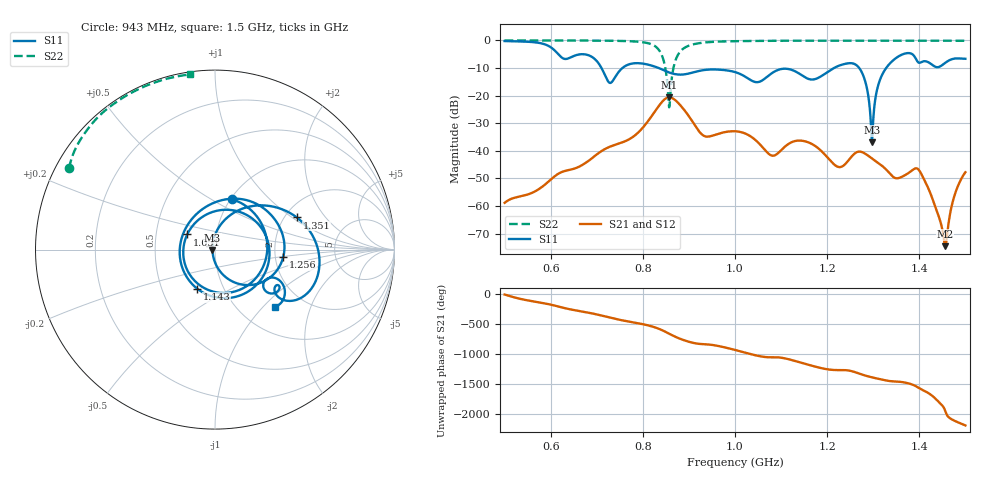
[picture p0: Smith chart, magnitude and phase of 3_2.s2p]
! TOUCHSTONE file generated by CST MICROWAVE STUDIO
! Date and time: Mon Nov 30 09:05:49 2020
! Project name: Scenario_1_Planar_Body_Tissue_Out_of_Line_v2.cst
! Parameters = {dy1=-311.4; L_HA=400; Ltissue=700; MT=2.54; Rad_Dielectric=30; Rad_Lower=7.3; Rad_Upper=30; Wtissue=700; a_HA=580; a_WG=246; b_HA=500; b_WG=121; c_HA=0; c_WG=187; d_feed=85; dx1=346; h_feed=15; h_lower=18; h_upper=40; hfat=3; hgap=25; hmuscle=50; hskin=1.5}
! Header version: 2018
! Port assignment regex: !\s*Touchstone port\s*([0-9]+)\s*=\s*(CST MWS port|CST DS port)\s*([0-9]+|Zmin|Zmax)\s*\(\"(.*)\"\)(\s*mode\s*([0-9]+))?.*
! Touchstone port assignment:
! Touchstone port 1 = CST MWS port 1 ("")
! Touchstone port 2 = CST MWS port 2 ("")
# GHz S DB R 50
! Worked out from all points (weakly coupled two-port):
!   1003 points, 500 MHz to 1.5 GHz, reference 50 ohm
!   highest |S21| = -20.63 dB at 857 MHz (marker M1); lowest = -74.6 dB at 1.456 GHz (marker M2)
!   lowest |S11| = -37.0 dB at 1.297 GHz (marker M3), VSWR 1.03, Z = 48.6 - j0.216 ohm
!   |S11| at or under -10 dB: 710.3 MHz to 755.7 MHz (45.41 MHz wide, 6.2 % of centre); 834.5 MHz to 1.215 GHz (380.3 MHz wide, 37.1 % of centre); 1.27 GHz to 1.328 GHz (58.41 MHz wide, 4.5 % of centre)
!   |S22| runs from -24.2 to 0.0 dB; largest |S21 - S12| = 7.2e-06
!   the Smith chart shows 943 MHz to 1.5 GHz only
!   S11 on the Smith chart (normalised r, x): 943 MHz: 1.02, +0.63; 1.051 GHz: 0.72, +0.13; 1.143 GHz: 0.75, -0.35; 1.256 GHz: 2.21, -0.21; 1.351 GHz: 2.32, +1.09; 1.5 GHz: 1.44, -1.18
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0.5  -0.23 -121.7  -58.86 -2.1  -58.86 -2.1  -0.01 151.2
0.577  -0.96 -164.2  -53.59 -136.1  -53.59 -136.1  -0.02 145.9
0.667  -4.99 153.3  -45.29 76.4  -45.29 76.4  -0.04 138.4
0.716  -11.94 39.5  -39.53 -3.8  -39.53 -3.8  -0.09 132.8
0.772  -8.56 169.8  -35.66 -97.0  -35.66 -97.0  -0.28 122.6
0.834  -9.97 42.4  -23.90 148.0  -23.90 148.0  -3.26 82.7
0.857  -11.60 -18.5  -20.63 64.2  -20.63 64.2  -24.23 -38.0
0.881  -12.39 -94.8  -23.42 -21.1  -23.42 -21.1  -4.06 -174.9
0.943  -10.56 70.9  -34.84 -116.7  -34.84 -116.7  -0.62 150.8
1  -11.47 -52.4  -32.92 153.2  -32.92 153.2  -0.27 140.2
1.051  -15.07 151.3  -37.13 52.5  -37.13 52.5  -0.17 134.4
1.101  -10.35 -3.0  -39.65 22.4  -39.65 22.4  -0.12 129.7
1.143  -12.42 -114.4  -36.31 -59.4  -36.31 -59.4  -0.10 126.1
1.167  -14.17 170.6  -37.54 -111.2  -37.54 -111.2  -0.10 124.2
1.256  -8.35 -6.2  -41.55 152.9  -41.55 152.9  -0.09 117.4
1.281  -13.96 -61.7  -40.90 88.8  -40.90 88.8  -0.08 115.6
1.297  -36.96 -171.0  -42.74 55.6  -42.74 55.6  -0.08 114.4
1.334  -8.74 42.3  -47.88 -4.8  -47.88 -4.8  -0.09 111.5
1.351  -6.20 21.4  -49.97 -14.7  -49.97 -14.7  -0.09 110.2
1.4  -8.10 -31.7  -47.16 -126.2  -47.16 -126.2  -0.09 106.4
1.456  -8.15 -25.3  -74.57 -139.8  -74.59 -139.7  -0.11 101.8
1.5  -6.65 -43.8  -47.77 -28.1  -47.77 -28.1  -0.13 98.0
